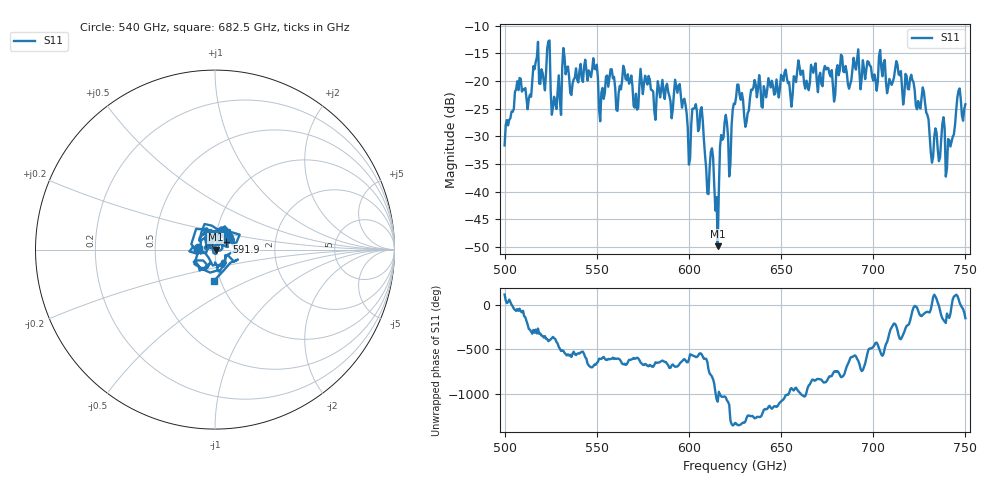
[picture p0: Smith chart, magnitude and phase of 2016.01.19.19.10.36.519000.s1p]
!Created with skrf (http://scikit-rf.org).
# GHz S RI R 50.0
!freq ReS11 ImS11
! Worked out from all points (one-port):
!   401 points, 500 GHz to 750 GHz, reference 50 ohm
!   lowest |S11| = -49.9 dB at 615.6 GHz (marker M1), VSWR 1.01, Z = 50.3 - j0.0296 ohm
!   |S11| at or under -10 dB: start of sweep to end of sweep
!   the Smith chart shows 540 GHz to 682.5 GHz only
!   S11 on the Smith chart (normalised r, x): 540 GHz: 0.82, +0.01; 591.9 GHz: 1.13, +0.10; 682.5 GHz: 0.93, -0.33
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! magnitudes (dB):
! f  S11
! 500 GHz  -31.6
! 507.5 GHz  -21.6
! 513.1 GHz  -23.2
! 516.9 GHz  -16.5
! 523.8 GHz  -12.8
! 526.9 GHz  -22.8
! 531.2 GHz  -17.6
! 540 GHz  -20.3
! 562.5 GHz  -20.9
! 591.9 GHz  -22.2
! 593.8 GHz  -22.1
! 600 GHz  -35.1
! 606.9 GHz  -24.7
! 610 GHz  -40.3
! 612.5 GHz  -32.2
! 615.6 GHz  -49.9
! 618.1 GHz  -30.6
! 622.5 GHz  -35.1
! 625 GHz  -24.2
! 656.2 GHz  -22.6
! 682.5 GHz  -15.2
! 687.5 GHz  -20.6
! 718.8 GHz  -21.4
! 727.5 GHz  -22.0
! 731.9 GHz  -34.8
! 740.6 GHz  -30.5
! 746.2 GHz  -21.8
! 750 GHz  -24.2
